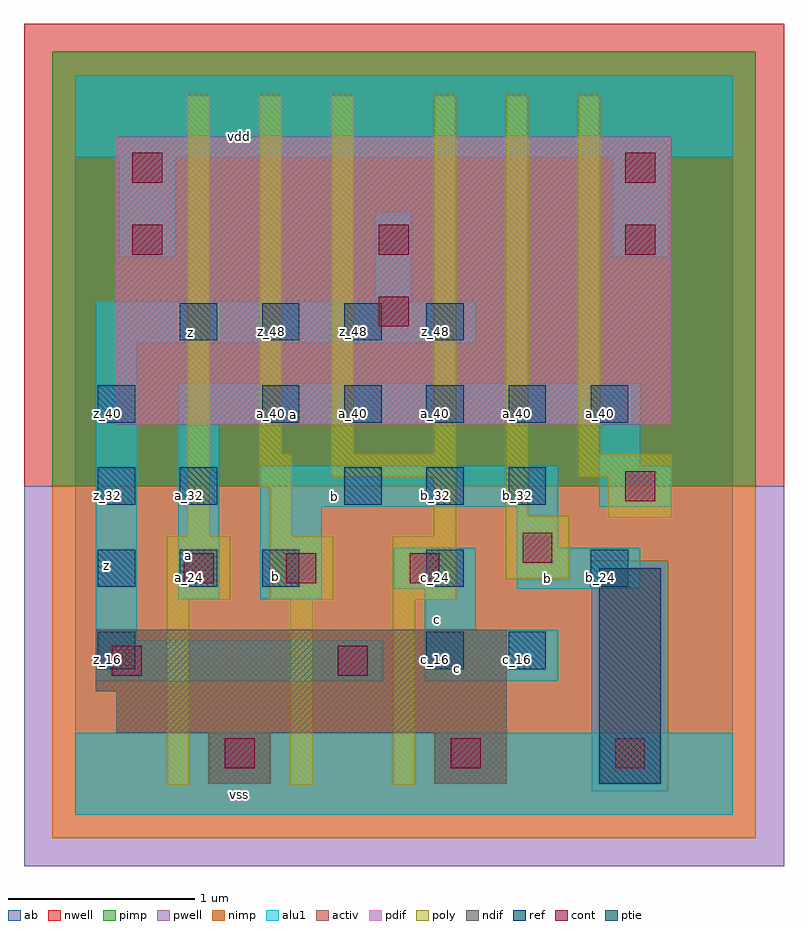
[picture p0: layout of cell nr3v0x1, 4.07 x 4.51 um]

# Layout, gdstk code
import gdstk
lib = gdstk.Library(unit=1e-6, precision=2.5e-09)
def R(c, l, rs):  # rectangles x0, y0, x1, y1
    for r in rs: c.add(gdstk.rectangle(r[:2], r[2:], *l))
def A(c, l, x, y, w, h, nx, ny, dx, dy):  # array of equal rectangles
    R(c, l, [(x+i*dx, y+j*dy, x+i*dx+w, y+j*dy+h) for i in range(nx) for j in range(ny)])
ndif = (3, 0)
pdif = (4, 0)
ptie = (6, 0)
ref = (24, 0)
cont = (25, 0)
pwell = (41, 0)
nwell = (42, 0)
activ = (43, 0)
pimp = (44, 0)
nimp = (45, 0)
poly = (46, 0)
alu1 = (49, 0)
ab = (63, 0)

nr3v0x1 = lib.new_cell('nr3v0x1')
R(nr3v0x1, ndif, [(0.715,0.165,1.045,0.44), (1.925,0.165,2.31,0.44), (0.22,0.44,2.31,0.66), (0.11,0.66,2.31,0.99)])
R(nr3v0x1, pdif, [(0.22,2.09,3.19,3.63)])
R(nr3v0x1, ptie, [(2.805,0.165,3.135,1.32)])
A(nr3v0x1, ref, 0.12, 1.22, 0.2, 0.2, 3, 1, 0.44, 0)
A(nr3v0x1, ref, 1.44, 1.66, 0.2, 0.2, 3, 1, 0.44, 0)
A(nr3v0x1, ref, 1, 2.1, 0.2, 0.2, 5, 1, 0.44, 0)
A(nr3v0x1, ref, 0.56, 2.54, 0.2, 0.2, 4, 1, 0.44, 0)
R(nr3v0x1, ref, [(0.12,0.78,0.32,0.98), (1.88,0.78,2.08,0.98), (2.32,0.78,2.52,0.98), (1.88,1.22,2.08,1.42), (2.76,1.22,2.96,1.42), (0.12,1.66,0.32,1.86), (0.56,1.66,0.76,1.86), (0.12,2.1,0.32,2.3)])
A(nr3v0x1, cont, 0.305, 3, 0.16, 0.16, 3, 1, 1.32, 0)
R(nr3v0x1, cont, [(0.8,0.25,0.96,0.41), (2.01,0.25,2.17,0.41), (2.89,0.25,3.05,0.41), (0.195,0.745,0.355,0.905), (1.405,0.745,1.565,0.905), (0.58,1.24,0.74,1.4), (1.13,1.24,1.29,1.4), (1.79,1.24,1.95,1.4), (2.395,1.35,2.555,1.51), (2.945,1.68,3.105,1.84), (1.625,2.615,1.785,2.775), (0.305,3.385,0.465,3.545), (2.945,3.385,3.105,3.545)])
R(nr3v0x1, pwell, [(-0.275,-0.275,3.795,1.76)])
R(nr3v0x1, nwell, [(-0.275,1.76,3.795,4.235)])
R(nr3v0x1, activ, [(0.715,0.165,1.045,0.44), (1.925,0.165,2.31,0.44), (2.805,0.165,3.135,1.32), (0.22,0.44,2.31,0.66), (0.11,0.66,2.31,0.99), (0.22,2.09,3.19,3.63)])
R(nr3v0x1, pimp, [(2.765,0.125,3.175,1.36), (-0.125,1.76,3.645,4.085)])
R(nr3v0x1, nimp, [(-0.125,-0.125,3.645,0.125), (-0.125,0.125,2.765,1.36), (3.175,0.125,3.645,1.36), (-0.125,1.36,3.645,1.76)])
R(nr3v0x1, poly, [(0.49,0.16,0.61,1.15), (1.15,0.16,1.27,1.15), (1.7,0.16,1.82,1.15), (0.49,1.15,0.83,1.49), (1.04,1.15,1.38,1.49), (1.7,1.15,2.04,1.49), (2.305,1.26,2.645,1.6), (0.6,1.49,0.72,3.855), (1.04,1.49,1.16,1.755), (1.92,1.49,2.04,1.81), (2.855,1.59,3.195,1.81), (2.305,1.6,2.425,3.855), (0.985,1.755,1.16,1.93), (1.37,1.81,2.04,1.93), (2.69,1.81,3.195,1.93), (0.985,1.93,1.105,3.855), (1.37,1.93,1.49,3.855), (1.92,1.93,2.04,3.855), (2.69,1.93,2.81,3.855)])
R(nr3v0x1, alu1, [(0,0,3.52,0.44), (0.11,0.715,1.65,0.935), (1.87,0.715,2.585,0.99), (0.11,0.935,0.33,2.53), (1.87,0.99,2.145,1.21), (0.55,1.155,0.77,2.09), (0.99,1.155,1.32,1.65), (1.705,1.21,2.145,1.43), (2.365,1.21,3.025,1.43), (2.365,1.43,2.585,1.65), (0.99,1.65,2.585,1.87), (2.805,1.65,3.19,1.87), (2.805,1.87,3.025,2.09), (0.55,2.09,3.025,2.31), (0.11,2.53,2.145,2.75), (1.61,2.75,1.8,3.23), (0.235,2.985,0.535,3.52), (2.875,2.985,3.175,3.52), (0,3.52,3.52,3.96)])
R(nr3v0x1, ab, [(0,0,3.52,3.96)])
nr3v0x1.add(gdstk.Label('vss', (0.88,0.11), layer=49, texttype=0))
nr3v0x1.add(gdstk.Label('c', (2.0475,0.7825), layer=49, texttype=0))
nr3v0x1.add(gdstk.Label('c', (1.9375,1.045), layer=49, texttype=0))
nr3v0x1.add(gdstk.Label('b', (2.53,1.265), layer=49, texttype=0))
nr3v0x1.add(gdstk.Label('b', (1.0725,1.2775), layer=49, texttype=0))
nr3v0x1.add(gdstk.Label('b', (1.3875,1.705), layer=49, texttype=0))
nr3v0x1.add(gdstk.Label('a', (0.605,1.3875), layer=49, texttype=0))
nr3v0x1.add(gdstk.Label('a', (1.1675,2.145), layer=49, texttype=0))
nr3v0x1.add(gdstk.Label('z', (0.165,1.3325), layer=49, texttype=0))
nr3v0x1.add(gdstk.Label('z', (0.6175,2.585), layer=49, texttype=0))
nr3v0x1.add(gdstk.Label('vdd', (0.88,3.63), layer=49, texttype=0))
nr3v0x1.add(gdstk.Label('a_24', (0.61,1.27), layer=24, texttype=0))
nr3v0x1.add(gdstk.Label('a_32', (0.61,1.71), layer=24, texttype=0))
nr3v0x1.add(gdstk.Label('z_48', (0.61,2.59), layer=24, texttype=0))
nr3v0x1.add(gdstk.Label('b_24', (1.05,1.27), layer=24, texttype=0))
nr3v0x1.add(gdstk.Label('a_40', (1.05,2.15), layer=24, texttype=0))
nr3v0x1.add(gdstk.Label('z_48', (1.05,2.59), layer=24, texttype=0))
nr3v0x1.add(gdstk.Label('b_32', (1.49,1.71), layer=24, texttype=0))
nr3v0x1.add(gdstk.Label('a_40', (1.49,2.15), layer=24, texttype=0))
nr3v0x1.add(gdstk.Label('z_48', (1.49,2.59), layer=24, texttype=0))
nr3v0x1.add(gdstk.Label('c_16', (1.93,0.83), layer=24, texttype=0))
nr3v0x1.add(gdstk.Label('c_24', (1.93,1.27), layer=24, texttype=0))
nr3v0x1.add(gdstk.Label('b_32', (1.93,1.71), layer=24, texttype=0))
nr3v0x1.add(gdstk.Label('a_40', (1.93,2.15), layer=24, texttype=0))
nr3v0x1.add(gdstk.Label('z_48', (1.93,2.59), layer=24, texttype=0))
nr3v0x1.add(gdstk.Label('z_16', (0.17,0.83), layer=24, texttype=0))
nr3v0x1.add(gdstk.Label('z_24', (0.17,1.27), layer=24, texttype=0))
nr3v0x1.add(gdstk.Label('z_32', (0.17,1.71), layer=24, texttype=0))
nr3v0x1.add(gdstk.Label('z_40', (0.17,2.15), layer=24, texttype=0))
nr3v0x1.add(gdstk.Label('c_16', (2.37,0.83), layer=24, texttype=0))
nr3v0x1.add(gdstk.Label('b_32', (2.37,1.71), layer=24, texttype=0))
nr3v0x1.add(gdstk.Label('a_40', (2.37,2.15), layer=24, texttype=0))
nr3v0x1.add(gdstk.Label('b_24', (2.81,1.27), layer=24, texttype=0))
nr3v0x1.add(gdstk.Label('a_40', (2.81,2.15), layer=24, texttype=0))

lib.write_gds('nr3v0x1.gds')
